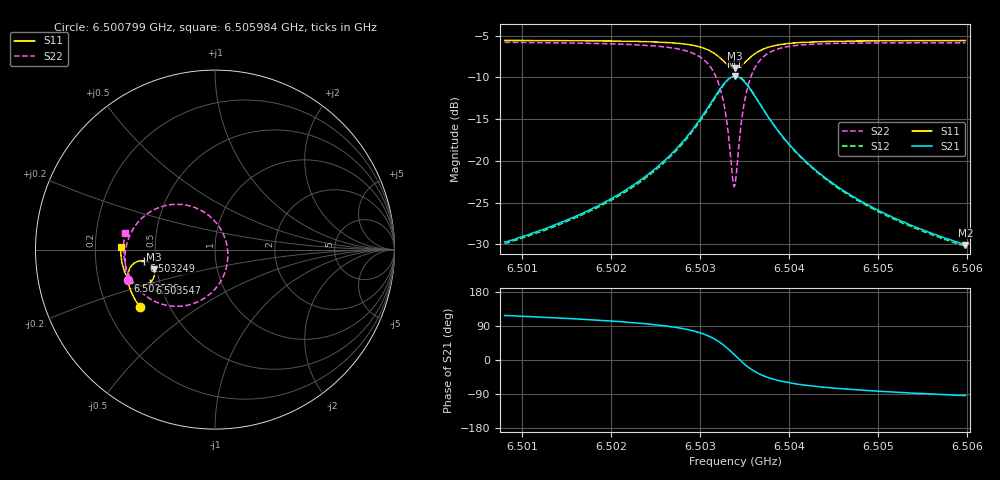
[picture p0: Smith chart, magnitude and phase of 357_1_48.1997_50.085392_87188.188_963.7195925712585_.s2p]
#  HZ  S  RI  R  50.00
! Rohde & Schwarz Vector Network Analyzer
! Rohde-Schwarz,ZNB20-2Port,1311601062101988,3.16
! Created: UTC 3/20/2024, 11:52:02 AM
! freq[Hz]  re:S11  im:S11  re:S21  im:S21  re:S12  im:S12  re:S22  im:S22
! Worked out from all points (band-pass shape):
!   401 points, 6.500799 GHz to 6.505984 GHz, reference 50 ohm
!   highest |S21| = -9.87 dB at 6.503391 GHz (marker M1); lowest = -30.1 dB at 6.505984 GHz (marker M2)
!   |S21| within 3 dB of the highest: 6.503132 GHz to 6.503651 GHz (519.2 kHz wide, 0.00798 % of centre)
!   lowest |S11| = -8.9 dB at 6.503391 GHz (marker M3), VSWR 2.11, Z = 24.1 - j6.1 ohm
!   |S11| at or under -10 dB: nowhere
!   |S22| runs from -23.1 to -5.8 dB; largest |S21 - S12| = 0.011
!   S11 on the Smith chart (normalised r, x): 6.500799 GHz: 0.34, -0.30; 6.502536 GHz: 0.33, -0.15; 6.503249 GHz: 0.43, -0.06; 6.503547 GHz: 0.44, -0.20; 6.505984 GHz: 0.31, +0.01
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6.5007991e9  -0.4194 -0.3184  -0.0151 0.029  -0.0134 0.029  -0.4854 -0.1677
6.5016675e9  -0.4577 -0.2555  -0.0145 0.046  -0.0121 0.0458  -0.501 -0.0779
6.5021082e9  -0.4738 -0.2176  -0.0123 0.063  -0.00934 0.0621  -0.5 -0.0179
6.5025359e9  -0.4851 -0.1721  -0.00341 0.0937  0.000336 0.0916  -0.4813 0.063
6.5027951e9  -0.4847 -0.1353  0.0151 0.1279  0.0189 0.1241  -0.4427 0.1353
6.5029766e9  -0.4737 -0.1021  0.0491 0.1634  0.0523 0.1582  -0.3757 0.2008
6.5031451e9  -0.4396 -0.0691  0.1253 0.1965  0.1266 0.19  -0.2358 0.2516
6.5032488e9  -0.3978 -0.0622  0.2092 0.1882  0.2096 0.1827  -0.09 0.2248
6.5033006e9  -0.3726 -0.0703  0.2568 0.1607  0.2576 0.1561  -0.0109 0.1689
6.5033654e9  -0.3465 -0.096  0.3039 0.0988  0.3062 0.0937  0.0598 0.0495
6.5033913e9  -0.3402 -0.1103  0.314 0.0673  0.317 0.0615  0.0709 -0.00891
6.5034043e9  -0.3382 -0.1178  0.3167 0.0509  0.3198 0.0446  0.0717 -0.0389
6.5034561e9  -0.3391 -0.148  0.3114 -0.0133  0.3142 -0.0221  0.0446 -0.1528
6.503482e9  -0.344 -0.1617  0.3007 -0.0417  0.3024 -0.0516  0.0158 -0.2007
6.5035469e9  -0.3646 -0.187  0.259 -0.0949  0.2578 -0.1058  -0.0779 -0.2819
6.5036505e9  -0.4032 -0.2017  0.1863 -0.1309  0.181 -0.1399  -0.2241 -0.3158
6.503819e9  -0.4485 -0.192  0.1064 -0.1282  0.0996 -0.1331  -0.3679 -0.2708
6.5040005e9  -0.4756 -0.1707  0.0628 -0.1088  0.0566 -0.1111  -0.4386 -0.2074
6.5042597e9  -0.4961 -0.1407  0.0334 -0.0853  0.0287 -0.0858  -0.4815 -0.1363
6.5046485e9  -0.5116 -0.1007  0.0147 -0.0628  0.0114 -0.0624  -0.5037 -0.0623
6.5051281e9  -0.5211 -0.057  0.00487 -0.0467  0.00268 -0.046  -0.5096 0.00364
6.5059835e9  -0.5258 0.015  -0.00213 -0.0313  -0.00333 -0.0306  -0.5013 0.0924
